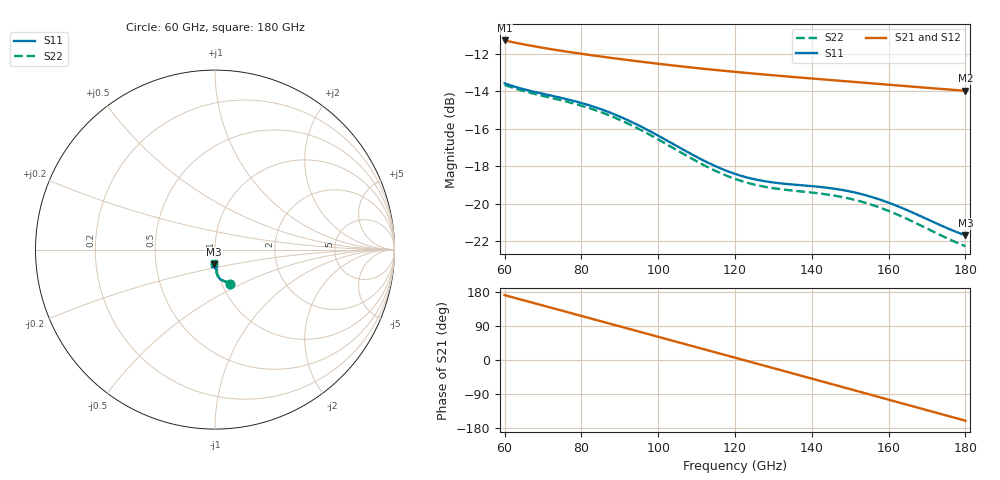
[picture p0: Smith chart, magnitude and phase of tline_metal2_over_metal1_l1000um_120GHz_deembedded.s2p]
! Created with skrf 2.0.1 (http://scikit-rf.org).
# GHz S DB R 50.0
!freq dBS11 angS11 dBS21 angS21 dBS12 angS12 dBS22 angS22
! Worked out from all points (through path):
!   101 points, 60 GHz to 180 GHz, reference 50 ohm
!   highest |S21| = -11.27 dB at 60 GHz (marker M1); lowest = -14.0 dB at 180 GHz (marker M2)
!   group delay of S21, straight-line fit = 7.67 ps
!   lowest |S11| = -21.7 dB at 180 GHz (marker M3), VSWR 1.18, Z = 48.9 - j8.1 ohm
!   |S11| at or under -10 dB: start of sweep to end of sweep
!   |S22| runs from -22.3 to -13.6 dB; largest |S21 - S12| = 4e-14
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60  -13.56 -66.3  -11.27 171.1  -11.27 171.1  -13.65 -66.7
64.8  -13.87 -67.1  -11.47 158.0  -11.47 158.0  -13.97 -67.4
70.8  -14.16 -68.8  -11.69 141.6  -11.69 141.6  -14.28 -69.1
75.6  -14.38 -70.8  -11.85 128.4  -11.85 128.4  -14.52 -71.1
80.4  -14.64 -73.2  -12.00 115.2  -12.00 115.2  -14.79 -73.5
85.2  -14.96 -75.9  -12.13 102.0  -12.13 102.0  -15.12 -76.2
90  -15.34 -78.6  -12.26 88.8  -12.26 88.8  -15.52 -78.9
94.8  -15.80 -81.1  -12.39 75.5  -12.39 75.5  -15.99 -81.4
100.8  -16.45 -83.6  -12.54 59.0  -12.54 59.0  -16.66 -83.9
110.4  -17.54 -85.5  -12.75 32.6  -12.75 32.6  -17.78 -85.8
115.2  -18.02 -85.6  -12.86 19.3  -12.86 19.3  -18.27 -85.9
120  -18.41 -85.2  -12.95 6.1  -12.95 6.1  -18.67 -85.5
124.8  -18.68 -84.6  -13.04 -7.1  -13.04 -7.1  -18.97 -85.0
129.6  -18.86 -84.3  -13.13 -20.4  -13.13 -20.4  -19.16 -84.7
134.4  -18.97 -84.5  -13.21 -33.7  -13.21 -33.7  -19.29 -84.8
140.4  -19.07 -85.5  -13.31 -50.3  -13.31 -50.3  -19.42 -85.8
146.4  -19.22 -87.2  -13.41 -66.9  -13.41 -66.9  -19.59 -87.6
151.2  -19.40 -88.9  -13.49 -80.2  -13.49 -80.2  -19.80 -89.3
160.8  -20.01 -92.3  -13.65 -106.9  -13.65 -106.9  -20.46 -92.7
165.6  -20.42 -93.4  -13.73 -120.2  -13.73 -120.2  -20.89 -93.9
171.6  -20.97 -94.0  -13.83 -136.9  -13.83 -136.9  -21.49 -94.4
180  -21.69 -92.9  -13.96 -160.2  -13.96 -160.2  -22.27 -93.2
